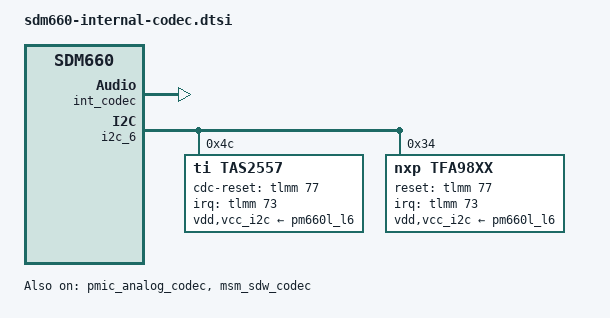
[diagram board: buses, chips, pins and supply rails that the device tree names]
/* Copyright (c) 2017, The Linux Foundation. All rights reserved.
 * Copyright (C) 2018 XiaoMi, Inc.
 *
 * This program is free software; you can redistribute it and/or modify
 * it under the terms of the GNU General Public License version 2 and
 * only version 2 as published by the Free Software Foundation.
 *
 * This program is distributed in the hope that it will be useful,
 * but WITHOUT ANY WARRANTY; without even the implied warranty of
 * MERCHANTABILITY or FITNESS FOR A PARTICULAR PURPOSE.  See the
 * GNU General Public License for more details.
 */

&slim_aud {
	status = "disabled";
};

&dai_slim {
	status = "disabled";
};

&wcd9335 {
	status = "disabled";
};

&wcd934x_cdc {
	status = "disabled";
};

&clock_audio {
	status = "disabled";
};

&wcd_rst_gpio {
	status = "disabled";
};

&wcd9xxx_intc {
	status = "disabled";
};

&tasha_snd {
	status = "disabled";
};

&tavil_snd {
	status = "disabled";
};

/*&spi_7 {
	status = "disabled";
};*/

&wdsp_mgr {
	status = "disabled";
};

&wdsp_glink {
	status = "disabled";
};

&glink_spi_xprt_wdsp {
	status = "disabled";
};

&glink_fifo_wdsp {
	status = "disabled";
};

&glink_qos_wdsp {
	status = "disabled";
};

&int_codec {
	status = "okay";
	qcom,wsa-disable;
};

&pmic_analog_codec {
	status = "okay";
};

&msm_sdw_codec {
	status = "okay";
};

&i2c_6 { /* SmartPA TI */
	status = "okay";
	tas2557@4c {
			compatible = "ti,tas2557";
			reg = <0x4c>;
			#ti,load = <0>;   /* 0, 8Ohm; 1, 6Ohm; 2, 4Ohm */
			#ti,channel = <0>;   /* 0, left channel; 1, right channel */
			i2c-pull-up;
			vdd-supply = <&pm660l_l6>;
			vcc_i2c-supply = <&pm660l_l6>;
			ti,cdc-reset-gpio = <&tlmm 77 0>;
			ti,irq-gpio = <&tlmm 73 0>;
			ti,i2s-bits = <16>;
			status = "ok";
		};

	tfa98xx@34 {
			compatible = "nxp,tfa98xx";
			reg = <0x34>;
			i2c-pull-up;
			vdd-supply = <&pm660l_l6>;
			vcc_i2c-supply = <&pm660l_l6>;
			reset-gpio = <&tlmm 77 0>;
			irq-gpio = <&tlmm 73 0>;
			status = "ok";
		};
};
